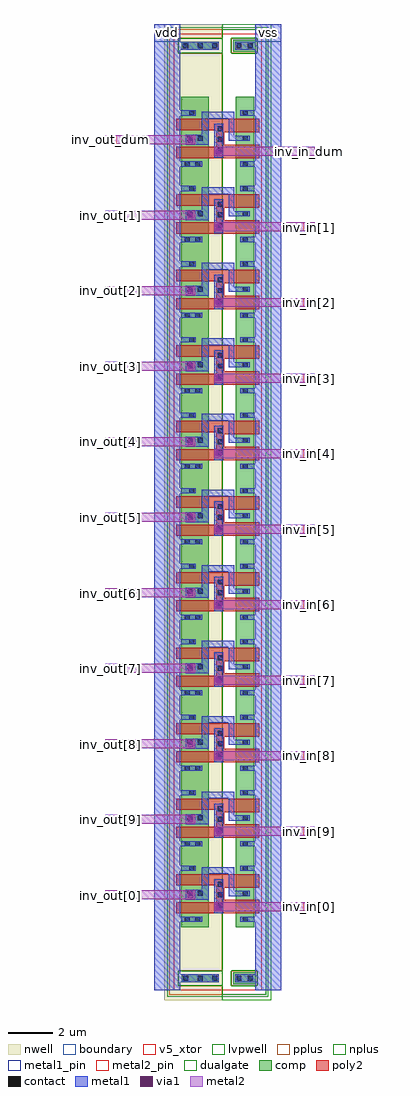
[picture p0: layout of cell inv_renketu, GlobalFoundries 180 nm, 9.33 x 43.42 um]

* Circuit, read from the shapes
.subckt inv_renketu inv_in[0] inv_in[1] inv_in[2] inv_in[3] inv_in[4] inv_in[5] inv_in[6] inv_in[7] inv_in[8] inv_in[9] inv_in_dum inv_out[0] inv_out[1] inv_out[2] inv_out[3] inv_out[4] inv_out[5] inv_out[6] inv_out[7] inv_out[8] inv_out[9] inv_out_dum vdd vss
XM1 inv_out[0] inv_in[0] vss vss nfet_05v0 w=0.82u l=0.6u m=2
XM2 inv_out[9] inv_in[9] vss vss nfet_05v0 w=0.82u l=0.6u m=2
XM3 inv_out[8] inv_in[8] vss vss nfet_05v0 w=0.82u l=0.6u m=2
XM4 inv_out[7] inv_in[7] vss vss nfet_05v0 w=0.82u l=0.6u m=2
XM5 inv_out[6] inv_in[6] vss vss nfet_05v0 w=0.82u l=0.6u m=2
XM6 inv_out[5] inv_in[5] vss vss nfet_05v0 w=0.82u l=0.6u m=2
XM7 inv_out[4] inv_in[4] vss vss nfet_05v0 w=0.82u l=0.6u m=2
XM8 inv_out[3] inv_in[3] vss vss nfet_05v0 w=0.82u l=0.6u m=2
XM9 inv_out[2] inv_in[2] vss vss nfet_05v0 w=0.82u l=0.6u m=2
XM10 inv_out[1] inv_in[1] vss vss nfet_05v0 w=0.82u l=0.6u m=2
XM11 inv_out_dum inv_in_dum vss vss nfet_05v0 w=0.82u l=0.6u m=2
XM12 inv_out[0] inv_in[0] vdd vdd pfet_05v0 w=1.22u l=0.5u m=2
XM13 inv_out[9] inv_in[9] vdd vdd pfet_05v0 w=1.22u l=0.5u m=2
XM14 inv_out[8] inv_in[8] vdd vdd pfet_05v0 w=1.22u l=0.5u m=2
XM15 inv_out[7] inv_in[7] vdd vdd pfet_05v0 w=1.22u l=0.5u m=2
XM16 inv_out[6] inv_in[6] vdd vdd pfet_05v0 w=1.22u l=0.5u m=2
XM17 inv_out[5] inv_in[5] vdd vdd pfet_05v0 w=1.22u l=0.5u m=2
XM18 inv_out[4] inv_in[4] vdd vdd pfet_05v0 w=1.22u l=0.5u m=2
XM19 inv_out[3] inv_in[3] vdd vdd pfet_05v0 w=1.22u l=0.5u m=2
XM20 inv_out[2] inv_in[2] vdd vdd pfet_05v0 w=1.22u l=0.5u m=2
XM21 inv_out[1] inv_in[1] vdd vdd pfet_05v0 w=1.22u l=0.5u m=2
XM22 inv_out_dum inv_in_dum vdd vdd pfet_05v0 w=1.22u l=0.5u m=2
.ends

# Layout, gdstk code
from math import pi, radians
import gdstk
lib = gdstk.Library(unit=1e-6, precision=1e-09)
def R(c, l, rs):  # rectangles x0, y0, x1, y1
    for r in rs: c.add(gdstk.rectangle(r[:2], r[2:], *l))
def A(c, l, x, y, w, h, nx, ny, dx, dy):  # array of equal rectangles
    R(c, l, [(x+i*dx, y+j*dy, x+i*dx+w, y+j*dy+h) for i in range(nx) for j in range(ny)])
def P(c, l, *ps):  # polygons
    for p in ps: c.add(gdstk.Polygon(p, *l))
boundary = (0, 0)
nwell = (21, 0)
comp = (22, 0)
poly2 = (30, 0)
pplus = (31, 0)
nplus = (32, 0)
contact = (33, 0)
metal1 = (34, 0)
metal1_pin = (34, 10)
via1 = (35, 0)
metal2 = (36, 0)
metal2_pin = (36, 10)
dualgate = (55, 0)
v5_xtor = (112, 1)
lvpwell = (204, 0)

inv = lib.new_cell('inv')
R(inv, boundary, [(0,0,3.36,3.92)])
R(inv, nwell, [(-0.43,1.76,3.79,4.35)])
R(inv, comp, [(0,0.34,3.36,1.16), (0,2.36,3.36,3.58)])
P(inv, poly2, [(0.62,0.12),(0.62,3.8),(1.12,3.8),(1.12,2.035),(1.87,2.035),(1.87,3.8),(2.37,3.8),(2.37,0.12),(1.77,0.12),(1.77,1.675),(1.22,1.675),(1.22,0.12)])
R(inv, pplus, [(-0.2,1.76,3.56,4.12)])
R(inv, nplus, [(-0.2,-0.2,3.56,1.76)])
A(inv, contact, 0.875, 1.745, 0.22, 0.22, 3, 1, 0.47, 0)
R(inv, contact, [(0.25,0.63,0.47,0.85), (1.4,0.63,1.62,0.85), (2.52,0.63,2.74,0.85), (1.4,2.63,1.62,2.85), (0.25,2.74,0.47,2.96), (2.52,3.01,2.74,3.23), (1.4,3.1,1.62,3.32), (0.25,3.21,0.47,3.43)])
R(inv, metal1, [(0.63,1.705,2.15,2.12)])
P(inv, metal1, [(1.395,0.53),(1.395,1.475),(2.38,1.475),(2.38,2.36),(1.22,2.36),(1.22,3.39),(1.67,3.39),(1.67,2.68),(2.68,2.68),(2.68,1.22),(1.625,1.22),(1.625,0.53)],
  [(0,-0.3),(0,0.3),(0.245,0.3),(0.245,0.95),(0.475,0.95),(0.475,0.3),(2.515,0.3),(2.515,0.95),(2.745,0.95),(2.745,0.3),(3.36,0.3),(3.36,-0.3)],
  [(0.245,2.64),(0.245,3.62),(0,3.62),(0,4.22),(3.36,4.22),(3.36,3.62),(2.745,3.62),(2.745,2.93),(2.515,2.93),(2.515,3.62),(0.475,3.62),(0.475,2.64)])
R(inv, dualgate, [(-0.28,-0.28,3.64,4.2)])
R(inv, v5_xtor, [(0,0,3.36,3.92)])
R(inv, lvpwell, [(-0.43,-0.43,3.79,1.76)])
inv.add(gdstk.Label('VSS', (1.68,-0.025), layer=34, texttype=10))
inv.add(gdstk.Label('ZN', (1.96,2.52), layer=34, texttype=10))
inv.add(gdstk.Label('I', (1.4,1.96), layer=34, texttype=10))
inv.add(gdstk.Label('VDD', (1.68,3.93), layer=34, texttype=10))
inv.add(gdstk.Label('VPW', (0.34,-0.085), layer=204, texttype=10))
inv.add(gdstk.Label('VNW', (0.345,3.92), layer=21, texttype=10))
inv.add(gdstk.Label('& Vendor GLOBALFOUNDRIES', (0,2), layer=63, texttype=63))
inv.add(gdstk.Label('& Product GF018hv5v_mcu_sc7', (0,1.5), layer=63, texttype=63))
inv.add(gdstk.Label('& Version 2015q2v1', (0,1), layer=63, texttype=63))
inv.add(gdstk.Label('& Metric 1.00', (0,0.5), layer=63, texttype=63))

dummy_inv2 = lib.new_cell('dummy_inv2')
R(dummy_inv2, boundary, [(-7.563,-42.717,-3.643,-41.597), (-7.563,-41.597,-3.643,-40.477), (-7.563,-40.477,-3.643,-39.917)])
R(dummy_inv2, nwell, [(-7.993,-43.147,-5.403,-41.167), (-7.993,-42.027,-5.403,-40.047), (-7.993,-40.907,-5.403,-39.487)])
R(dummy_inv2, comp, [(-4.923,-42.437,-3.923,-41.917), (-7.203,-42.357,-5.563,-41.997)])
R(dummy_inv2, pplus, [(-5.003,-42.517,-3.843,-41.837), (-7.763,-41.797,-5.403,-40.277), (-7.763,-40.677,-5.403,-39.717)])
P(dummy_inv2, pplus, [(-7.763,-42.917),(-7.763,-41.397),(-5.403,-41.397),(-5.403,-41.837),(-7.363,-41.837),(-7.363,-42.517),(-5.403,-42.517),(-5.403,-42.917)])
R(dummy_inv2, nplus, [(-5.403,-41.797,-3.443,-40.277), (-5.403,-40.677,-3.443,-39.717)])
P(dummy_inv2, nplus, [(-5.403,-42.917),(-5.403,-42.517),(-7.363,-42.517),(-7.363,-41.837),(-5.003,-41.837),(-5.003,-42.517),(-3.843,-42.517),(-3.843,-41.837),(-7.363,-41.837),(-5.403,-41.837),(-5.403,-41.397),(-3.443,-41.397),(-3.443,-42.917)])
A(dummy_inv2, contact, -7.133, -42.287, 0.22, 0.22, 3, 1, 0.64, 0)
R(dummy_inv2, contact, [(-4.768,-42.287,-4.548,-42.067), (-4.263,-42.287,-4.043,-42.067)])
R(dummy_inv2, metal1, [(-7.863,-41.597,-7.263,-40.477), (-3.943,-41.597,-3.343,-40.477), (-7.863,-40.477,-7.263,-39.917), (-3.943,-40.477,-3.343,-39.917)])
P(dummy_inv2, metal1, [(-3.943,-42.717),(-3.943,-42.347),(-4.833,-42.347),(-4.833,-42.007),(-3.943,-42.007),(-3.943,-41.597),(-3.343,-41.597),(-3.343,-42.717)],
  [(-7.863,-42.717),(-7.863,-41.597),(-7.263,-41.597),(-7.263,-42.007),(-5.563,-42.007),(-5.563,-42.347),(-7.263,-42.347),(-7.263,-42.717)])
R(dummy_inv2, dualgate, [(-7.843,-42.997,-3.363,-41.317), (-7.843,-41.877,-3.363,-40.197), (-7.843,-40.757,-3.363,-39.637)])
R(dummy_inv2, v5_xtor, [(-7.563,-42.717,-3.643,-41.597), (-7.563,-41.597,-3.643,-40.477), (-7.563,-40.477,-3.643,-39.917)])
R(dummy_inv2, lvpwell, [(-5.403,-43.147,-3.213,-41.167), (-5.403,-42.027,-3.213,-40.047), (-5.403,-40.907,-3.213,-39.487)])
dummy_inv2.add(gdstk.Label('VDD', (-7.533,-41.087), layer=34, texttype=10))
dummy_inv2.add(gdstk.Label('VSS', (-3.643,-41.077), layer=34, texttype=10))
dummy_inv2.add(gdstk.Label('VDD', (-7.533,-40.202), layer=34, texttype=10))
dummy_inv2.add(gdstk.Label('VSS', (-3.668,-40.212), layer=34, texttype=10))
dummy_inv2.add(gdstk.Label('VSS', (-3.653,-42.157), layer=34, texttype=10))
dummy_inv2.add(gdstk.Label('VSS', (-3.633,-42.157), layer=34, texttype=10))
dummy_inv2.add(gdstk.Label('VDD', (-7.578,-42.157), layer=34, texttype=10))

dummy_inv = lib.new_cell('dummy_inv')
R(dummy_inv, boundary, [(-1.987,-1.155,1.933,-0.035), (-1.987,-0.035,1.933,1.085), (-1.987,1.085,1.933,1.645)])
R(dummy_inv, nwell, [(-2.417,-1.585,0.173,0.395), (-2.417,-0.465,0.173,1.515), (-2.417,0.655,0.173,2.075)])
R(dummy_inv, comp, [(0.653,-0.875,1.653,-0.355), (-1.627,-0.795,0.013,-0.435)])
R(dummy_inv, pplus, [(0.573,-0.955,1.733,-0.275), (-2.187,-0.235,0.173,1.285), (-2.187,0.885,0.173,1.845)])
P(dummy_inv, pplus, [(-2.187,-1.355),(-2.187,0.165),(0.173,0.165),(0.173,-0.275),(-1.787,-0.275),(-1.787,-0.955),(0.173,-0.955),(0.173,-1.355)])
R(dummy_inv, nplus, [(0.173,-0.235,2.133,1.285), (0.173,0.885,2.133,1.845)])
P(dummy_inv, nplus, [(0.173,-1.355),(0.173,-0.955),(-1.787,-0.955),(-1.787,-0.275),(0.573,-0.275),(0.573,-0.955),(1.733,-0.955),(1.733,-0.275),(-1.787,-0.275),(0.173,-0.275),(0.173,0.165),(2.133,0.165),(2.133,-1.355)])
A(dummy_inv, contact, -1.557, -0.725, 0.22, 0.22, 3, 1, 0.64, 0)
R(dummy_inv, contact, [(0.808,-0.725,1.028,-0.505), (1.313,-0.725,1.533,-0.505)])
R(dummy_inv, metal1, [(-2.287,-0.035,-1.687,1.085), (1.633,-0.035,2.233,1.085), (-2.287,1.085,-1.687,1.645), (1.633,1.085,2.233,1.645)])
P(dummy_inv, metal1, [(1.633,-1.155),(1.633,-0.785),(0.743,-0.785),(0.743,-0.445),(1.633,-0.445),(1.633,-0.035),(2.233,-0.035),(2.233,-1.155)],
  [(-2.287,-1.155),(-2.287,-0.035),(-1.687,-0.035),(-1.687,-0.445),(0.013,-0.445),(0.013,-0.785),(-1.687,-0.785),(-1.687,-1.155)])
R(dummy_inv, dualgate, [(-2.267,-1.435,2.213,0.245), (-2.267,-0.315,2.213,1.365), (-2.267,0.805,2.213,1.925)])
R(dummy_inv, v5_xtor, [(-1.987,-1.155,1.933,-0.035), (-1.987,-0.035,1.933,1.085), (-1.987,1.085,1.933,1.645)])
R(dummy_inv, lvpwell, [(0.173,-1.585,2.363,0.395), (0.173,-0.465,2.363,1.515), (0.173,0.655,2.363,2.075)])
dummy_inv.add(gdstk.Label('VDD', (-1.957,0.475), layer=34, texttype=10))
dummy_inv.add(gdstk.Label('VSS', (1.933,0.485), layer=34, texttype=10))
dummy_inv.add(gdstk.Label('VDD', (-1.957,1.36), layer=34, texttype=10))
dummy_inv.add(gdstk.Label('VSS', (1.908,1.35), layer=34, texttype=10))
dummy_inv.add(gdstk.Label('VSS', (1.923,-0.595), layer=34, texttype=10))
dummy_inv.add(gdstk.Label('VSS', (1.943,-0.595), layer=34, texttype=10))
dummy_inv.add(gdstk.Label('VDD', (-2.002,-0.595), layer=34, texttype=10))

inv_renketu = lib.new_cell('inv_renketu')
R(inv_renketu, comp, [(-0.44,-14.94,0.78,17.93), (1.98,-14.94,2.8,17.93)])
A(inv_renketu, metal1, -0.23, -17.235, 0.4, 0.4, 1, 11, 0, 3.36)
R(inv_renketu, metal1, [(-1.64,-21.28,-0.48,21.71), (2.84,-21.28,4,21.71), (1.025,15.84,1.425,16.24)])
R(inv_renketu, metal1_pin, [(-1.64,20.91,-0.48,21.71), (2.84,20.91,4,21.71)])
A(inv_renketu, via1, 1.095, -17.69, 0.26, 0.26, 1, 11, 0, 3.36)
A(inv_renketu, via1, -0.16, -17.165, 0.26, 0.26, 1, 11, 0, 3.36)
A(inv_renketu, metal2, 1.025, -17.76, 4.475, 0.4, 1, 11, 0, 3.36)
A(inv_renketu, metal2, -3.83, -17.235, 4, 0.4, 1, 11, 0, 3.36)
A(inv_renketu, metal2_pin, 4.99, -17.76, 0.51, 0.4, 1, 11, 0, 3.36)
A(inv_renketu, metal2_pin, -3.83, -17.235, 0.51, 0.4, 1, 11, 0, 3.36)
inv_renketu.add(gdstk.Reference(inv, (3.14,-15.12), rotation=pi/2))
inv_renketu.add(gdstk.Reference(inv, (3.14,-11.76), rotation=pi/2))
inv_renketu.add(gdstk.Reference(inv, (3.14,-8.4), rotation=pi/2))
inv_renketu.add(gdstk.Reference(inv, (3.14,-5.04), rotation=pi/2))
inv_renketu.add(gdstk.Reference(inv, (3.14,-1.68), rotation=pi/2))
inv_renketu.add(gdstk.Reference(inv, (3.14,1.68), rotation=pi/2))
inv_renketu.add(gdstk.Reference(inv, (3.14,5.04), rotation=pi/2))
inv_renketu.add(gdstk.Reference(inv, (3.14,11.76), rotation=pi/2))
inv_renketu.add(gdstk.Reference(inv, (3.14,-18.48), rotation=pi/2))
inv_renketu.add(gdstk.Reference(inv, (3.14,8.4), rotation=pi/2))
inv_renketu.add(gdstk.Reference(inv, (3.14,15.12), rotation=pi/2))
inv_renketu.add(gdstk.Reference(dummy_inv2, (6.783,21.437)))
inv_renketu.add(gdstk.Reference(dummy_inv, (1.207,20.125), x_reflection=True))
inv_renketu.add(gdstk.Label('inv_out_dum', (-3.57,16.555), layer=36, texttype=10))
inv_renketu.add(gdstk.Label('inv_in_dum', (5.25,16.03), layer=36, texttype=10))
inv_renketu.add(gdstk.Label('inv_out[1]', (-3.57,13.195), layer=36, texttype=10))
inv_renketu.add(gdstk.Label('inv_out[2]', (-3.57,9.835), layer=36, texttype=10))
inv_renketu.add(gdstk.Label('inv_out[3]', (-3.57,6.475), layer=36, texttype=10))
inv_renketu.add(gdstk.Label('inv_out[4]', (-3.57,3.115), layer=36, texttype=10))
inv_renketu.add(gdstk.Label('inv_out[5]', (-3.57,-0.245), layer=36, texttype=10))
inv_renketu.add(gdstk.Label('inv_out[6]', (-3.57,-3.605), layer=36, texttype=10))
inv_renketu.add(gdstk.Label('inv_out[7]', (-3.57,-6.965), layer=36, texttype=10))
inv_renketu.add(gdstk.Label('inv_out[8]', (-3.57,-10.325), layer=36, texttype=10))
inv_renketu.add(gdstk.Label('inv_out[9]', (-3.57,-13.685), layer=36, texttype=10))
inv_renketu.add(gdstk.Label('inv_in[1]', (5.25,12.67), layer=36, texttype=10))
inv_renketu.add(gdstk.Label('inv_in[2]', (5.25,9.31), layer=36, texttype=10))
inv_renketu.add(gdstk.Label('inv_in[3]', (5.25,5.95), layer=36, texttype=10))
inv_renketu.add(gdstk.Label('inv_in[4]', (5.25,2.59), layer=36, texttype=10))
inv_renketu.add(gdstk.Label('inv_in[5]', (5.25,-0.77), layer=36, texttype=10))
inv_renketu.add(gdstk.Label('inv_in[6]', (5.25,-4.13), layer=36, texttype=10))
inv_renketu.add(gdstk.Label('inv_in[7]', (5.25,-7.49), layer=36, texttype=10))
inv_renketu.add(gdstk.Label('inv_in[8]', (5.25,-10.85), layer=36, texttype=10))
inv_renketu.add(gdstk.Label('inv_in[9]', (5.25,-14.21), layer=36, texttype=10))
inv_renketu.add(gdstk.Label('inv_out[0]', (-3.57,-17.045), layer=36, texttype=10))
inv_renketu.add(gdstk.Label('inv_in[0]', (5.25,-17.57), layer=36, texttype=10))
inv_renketu.add(gdstk.Label('vdd', (-1.045,21.325), layer=34, texttype=10))
inv_renketu.add(gdstk.Label('vss', (3.435,21.325), layer=34, texttype=10))

lib.write_gds('inv_renketu.gds')
